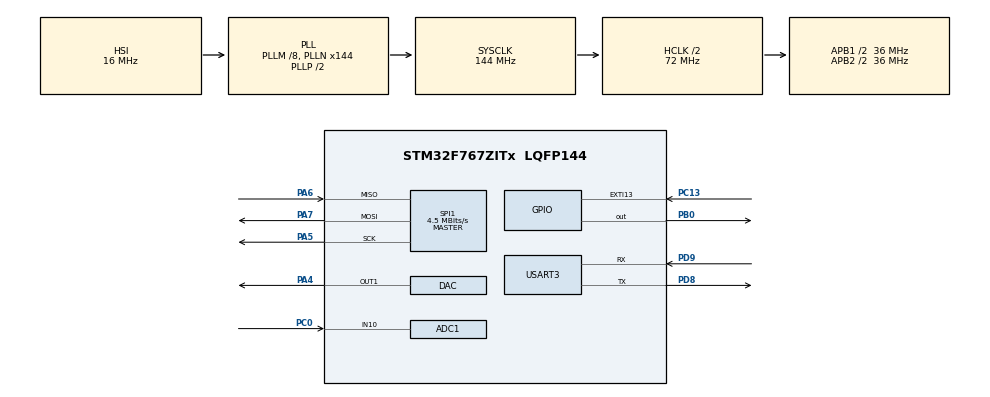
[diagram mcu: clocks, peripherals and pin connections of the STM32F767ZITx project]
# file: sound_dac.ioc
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ADC1.Channel-1\#ChannelRegularConversion=ADC_CHANNEL_10
ADC1.ContinuousConvMode=ENABLE
ADC1.NbrOfConversionFlag=1
ADC1.Rank-1\#ChannelRegularConversion=1
ADC1.SamplingTime-1\#ChannelRegularConversion=ADC_SAMPLETIME_3CYCLES
ADC1.master=1
CORTEX_M7.default_mode_Activation=1
DAC.DAC_Trigger=DAC_TRIGGER_T6_TRGO
Dma.ADC1.1.Direction=DMA_PERIPH_TO_MEMORY
Dma.ADC1.1.FIFOMode=DMA_FIFOMODE_DISABLE
Dma.ADC1.1.Instance=DMA2_Stream0
Dma.ADC1.1.MemDataAlignment=DMA_MDATAALIGN_HALFWORD
Dma.ADC1.1.MemInc=DMA_MINC_ENABLE
Dma.ADC1.1.Mode=DMA_CIRCULAR
Dma.ADC1.1.PeriphDataAlignment=DMA_PDATAALIGN_HALFWORD
Dma.ADC1.1.PeriphInc=DMA_PINC_DISABLE
Dma.ADC1.1.Priority=DMA_PRIORITY_LOW
Dma.DAC1.0.Direction=DMA_MEMORY_TO_PERIPH
Dma.DAC1.0.FIFOMode=DMA_FIFOMODE_DISABLE
Dma.DAC1.0.Instance=DMA1_Stream5
Dma.DAC1.0.MemDataAlignment=DMA_MDATAALIGN_BYTE
Dma.DAC1.0.MemInc=DMA_MINC_ENABLE
Dma.DAC1.0.Mode=DMA_CIRCULAR
Dma.DAC1.0.PeriphDataAlignment=DMA_PDATAALIGN_BYTE
Dma.DAC1.0.PeriphInc=DMA_PINC_DISABLE
Dma.DAC1.0.Priority=DMA_PRIORITY_LOW
Dma.Request0=DAC1
Dma.Request1=ADC1
FATFS._MAX_SS=4096
FATFS._USE_LFN=1
Mcu.Family=STM32F7
Mcu.Name=STM32F767ZITx
Mcu.Package=LQFP144
NVIC.DMA1_Stream5_IRQn=true\:0\:0\:false\:false\:true\:false\:true\:true
NVIC.DMA2_Stream0_IRQn=true\:0\:0\:false\:false\:true\:false\:true\:true
NVIC.EXTI15_10_IRQn=true\:0\:0\:false\:false\:true\:true\:true\:true
NVIC.PriorityGroup=NVIC_PRIORITYGROUP_4
NVIC.TIM6_DAC_IRQn=true\:0\:0\:false\:false\:true\:true\:true\:true
PA13.Mode=Serial_Wire
PA13.Signal=SYS_JTMS-SWDIO
PA14.Mode=Serial_Wire
PA14.Signal=SYS_JTCK-SWCLK
PA4.Signal=COMP_DAC1_group
PA5.Mode=Full_Duplex_Master
PA5.Signal=SPI1_SCK
PA6.Mode=Full_Duplex_Master
PA6.Signal=SPI1_MISO
PA7.Mode=Full_Duplex_Master
PA7.Signal=SPI1_MOSI
PB0.Signal=GPIO_Output
PC0.Signal=ADCx_IN10
PC13.Signal=GPXTI13
PC14/OSC32_IN.Mode=LSE-External-Oscillator
PC14/OSC32_IN.Signal=RCC_OSC32_IN
PC15/OSC32_OUT.Mode=LSE-External-Oscillator
PC15/OSC32_OUT.Signal=RCC_OSC32_OUT
PD8.Mode=Asynchronous
PD8.Signal=USART3_TX
PD9.Mode=Asynchronous
PD9.Signal=USART3_RX
PH0/OSC_IN.Mode=HSE-External-Oscillator
PH0/OSC_IN.Signal=RCC_OSC_IN
PH1/OSC_OUT.Mode=HSE-External-Oscillator
PH1/OSC_OUT.Signal=RCC_OSC_OUT
ProjectManager.HeapSize=0x200
ProjectManager.StackSize=0x400
ProjectManager.TargetToolchain=STM32CubeIDE
RCC.AHBCLKDivider=RCC_SYSCLK_DIV2
RCC.AHBFreq_Value=72000000
RCC.APB1CLKDivider=RCC_HCLK_DIV2
RCC.APB1Freq_Value=36000000
RCC.APB1TimFreq_Value=72000000
RCC.APB2CLKDivider=RCC_HCLK_DIV2
RCC.APB2Freq_Value=36000000
RCC.APB2TimFreq_Value=72000000
RCC.CortexFreq_Value=72000000
RCC.HCLKFreq_Value=72000000
RCC.HSE_VALUE=25000000
RCC.HSI_VALUE=16000000
RCC.PLLM=8
RCC.PLLN=144
RCC.SYSCLKFreq_VALUE=144000000
RCC.SYSCLKSource=RCC_SYSCLKSOURCE_PLLCLK
RCC.USBFreq_Value=144000000
RCC.VCOOutputFreq_Value=288000000
SH.ADCx_IN10.0=ADC1_IN10,IN10
SH.COMP_DAC1_group.0=DAC_OUT1,DAC_OUT1
SPI1.BaudRatePrescaler=SPI_BAUDRATEPRESCALER_8
SPI1.CalculateBaudRate=4.5 MBits/s
SPI1.DataSize=SPI_DATASIZE_8BIT
SPI1.Direction=SPI_DIRECTION_2LINES
SPI1.Mode=SPI_MODE_MASTER
SPI1.VirtualType=VM_MASTER
TIM6.Period=125-1
TIM6.Prescaler=36-1
TIM6.TIM_MasterOutputTrigger=TIM_TRGO_UPDATE
USART3.VirtualMode-Asynchronous=VM_ASYNC
VP_FATFS_VS_Generic.Mode=User_defined
VP_TIM6_VS_ClockSourceINT.Mode=Enable_Timer
board=custom

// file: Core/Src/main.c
/* USER CODE BEGIN Header */
/**
  ******************************************************************************
  * @file           : main.c
  * @brief          : Main program body
  ******************************************************************************
  * @attention
  *
  * Copyright (c) 2025 STMicroelectronics.
  * All rights reserved.
  *
  * This software is licensed under terms that can be found in the LICENSE file
  * in the root directory of this software component.
  * If no LICENSE file comes with this software, it is provided AS-IS.
  *
  ******************************************************************************
  */
/* USER CODE END Header */
#include "main.h"
#include "fatfs.h"

/* USER CODE BEGIN Includes */
//#include "audio_samples.h"
#include "wavplayer.h"
/* USER CODE END Includes */

/* USER CODE BEGIN PTD */
#define ID_STATION 	3

/* USER CODE END PTD */

ADC_HandleTypeDef hadc1;
DMA_HandleTypeDef hdma_adc1;

DAC_HandleTypeDef hdac;
DMA_HandleTypeDef hdma_dac1;

SPI_HandleTypeDef hspi1;

TIM_HandleTypeDef htim6;

UART_HandleTypeDef huart3;

/* USER CODE BEGIN PV */
char name[30] = { 0 };
uint8_t playFlag = 0;
FILELIST_FileTypeDef fileList;
WAV_InfoTypeDef currentAudio;
uint8_t readBuffer[1000] = { 0 };

/* USER CODE END PV */

void SystemClock_Config(void);
static void MPU_Config(void);
static void MX_GPIO_Init(void);
static void MX_DMA_Init(void);
static void MX_DAC_Init(void);
static void MX_ADC1_Init(void);
static void MX_SPI1_Init(void);
static void MX_TIM6_Init(void);
static void MX_USART3_UART_Init(void);

/* USER CODE BEGIN 0 */

void HAL_GPIO_EXTI_Callback(uint16_t GPIO_Pin) {
	if (GPIO_Pin == GPIO_PIN_13) {
		playFlag = 1;
//		if(playFlag == 1)
//			WAV_Pause(&currentAudio);
//		if(playFlag == 2)
//			WAV_Resume(&currentAudio);
//		if(playFlag == 3)
//			WAV_Stop(&currentAudio);
//		if(playFlag == 4)
//			playFlag = 0;
		for (int i = 0; i < 50000; i++)
			;
		while (HAL_GPIO_ReadPin(GPIOC, GPIO_PIN_13) == 0)
			;
		for (int i = 0; i < 50000; i++)
			;
		EXTI->PR = GPIO_Pin;
	}
}

/* USER CODE END 0 */

int main(void)
{

  /* MPU Configuration--------------------------------------------------------*/
  MPU_Config();

  /* MCU Configuration--------------------------------------------------------*/

  /* Reset of all peripherals, Initializes the Flash interface and the Systick. */
  HAL_Init();

  /* Configure the system clock */
  SystemClock_Config();

  /* Initialize all configured peripherals */
  MX_GPIO_Init();
  MX_DMA_Init();
  MX_DAC_Init();
  MX_ADC1_Init();
  MX_SPI1_Init();
  MX_TIM6_Init();
  MX_FATFS_Init();
  MX_USART3_UART_Init();
  /* USER CODE BEGIN 2 */
  SD_Mount("/");
  SD_GetFileSize(name);
  WAV_Init(&currentAudio);
  WAV_GetState(&currentAudio);
//  SD_ReadFile(name, readBuffer, 0, 44);
//  SD_ReadFile("A.wav", readBuffer, 0, 44);

  /* USER CODE END 2 */

  /* Infinite loop */
  while (1)
  {

    /* USER CODE BEGIN 3 */
	  if (playFlag == 1) {
		WAV_Play("A.wav", &currentAudio);
		playFlag = 0;
	}

//	  HAL_Delay(100);
  }
  /* USER CODE END 3 */
}

void SystemClock_Config(void)
{
  RCC_OscInitTypeDef RCC_OscInitStruct = {0};
  RCC_ClkInitTypeDef RCC_ClkInitStruct = {0};

  /** Configure LSE Drive Capability
  */
  HAL_PWR_EnableBkUpAccess();

  /** Configure the main internal regulator output voltage
  */
  __HAL_RCC_PWR_CLK_ENABLE();
  __HAL_PWR_VOLTAGESCALING_CONFIG(PWR_REGULATOR_VOLTAGE_SCALE3);

  /** Initializes the RCC Oscillators according to the specified parameters
  * in the RCC_OscInitTypeDef structure.
  */
  RCC_OscInitStruct.OscillatorType = RCC_OSCILLATORTYPE_HSI;
  RCC_OscInitStruct.HSIState = RCC_HSI_ON;
  RCC_OscInitStruct.HSICalibrationValue = RCC_HSICALIBRATION_DEFAULT;
  RCC_OscInitStruct.PLL.PLLState = RCC_PLL_ON;
  RCC_OscInitStruct.PLL.PLLSource = RCC_PLLSOURCE_HSI;
  RCC_OscInitStruct.PLL.PLLM = 8;
  RCC_OscInitStruct.PLL.PLLN = 144;
  RCC_OscInitStruct.PLL.PLLP = RCC_PLLP_DIV2;
  RCC_OscInitStruct.PLL.PLLQ = 2;
  RCC_OscInitStruct.PLL.PLLR = 2;
  if (HAL_RCC_OscConfig(&RCC_OscInitStruct) != HAL_OK)
  {
    Error_Handler();
  }

  /** Initializes the CPU, AHB and APB buses clocks
  */
  RCC_ClkInitStruct.ClockType = RCC_CLOCKTYPE_HCLK|RCC_CLOCKTYPE_SYSCLK
                              |RCC_CLOCKTYPE_PCLK1|RCC_CLOCKTYPE_PCLK2;
  RCC_ClkInitStruct.SYSCLKSource = RCC_SYSCLKSOURCE_PLLCLK;
  RCC_ClkInitStruct.AHBCLKDivider = RCC_SYSCLK_DIV2;
  RCC_ClkInitStruct.APB1CLKDivider = RCC_HCLK_DIV2;
  RCC_ClkInitStruct.APB2CLKDivider = RCC_HCLK_DIV2;

  if (HAL_RCC_ClockConfig(&RCC_ClkInitStruct, FLASH_LATENCY_2) != HAL_OK)
  {
    Error_Handler();
  }
}

static void MX_ADC1_Init(void)
{

  ADC_ChannelConfTypeDef sConfig = {0};

  /** Configure the global features of the ADC (Clock, Resolution, Data Alignment and number of conversion)
  */
  hadc1.Instance = ADC1;
  hadc1.Init.ClockPrescaler = ADC_CLOCK_SYNC_PCLK_DIV2;
  hadc1.Init.Resolution = ADC_RESOLUTION_12B;
  hadc1.Init.ScanConvMode = ADC_SCAN_DISABLE;
  hadc1.Init.ContinuousConvMode = ENABLE;
  hadc1.Init.DiscontinuousConvMode = DISABLE;
  hadc1.Init.ExternalTrigConvEdge = ADC_EXTERNALTRIGCONVEDGE_NONE;
  hadc1.Init.ExternalTrigConv = ADC_SOFTWARE_START;
  hadc1.Init.DataAlign = ADC_DATAALIGN_RIGHT;
  hadc1.Init.NbrOfConversion = 1;
  hadc1.Init.DMAContinuousRequests = DISABLE;
  hadc1.Init.EOCSelection = ADC_EOC_SINGLE_CONV;
  if (HAL_ADC_Init(&hadc1) != HAL_OK)
  {
    Error_Handler();
  }

  /** Configure for the selected ADC regular channel its corresponding rank in the sequencer and its sample time.
  */
  sConfig.Channel = ADC_CHANNEL_10;
  sConfig.Rank = ADC_REGULAR_RANK_1;
  sConfig.SamplingTime = ADC_SAMPLETIME_3CYCLES;
  if (HAL_ADC_ConfigChannel(&hadc1, &sConfig) != HAL_OK)
  {
    Error_Handler();
  }

}

static void MX_DAC_Init(void)
{

  /* USER CODE BEGIN DAC_Init 0 */
//	 __HAL_RCC_DAC1_CLK_ENABLE();

  /* USER CODE END DAC_Init 0 */

  DAC_ChannelConfTypeDef sConfig = {0};

  /** DAC Initialization
  */
  hdac.Instance = DAC;
  if (HAL_DAC_Init(&hdac) != HAL_OK)
  {
    Error_Handler();
  }

  /** DAC channel OUT1 config
  */
  sConfig.DAC_Trigger = DAC_TRIGGER_T6_TRGO;
  sConfig.DAC_OutputBuffer = DAC_OUTPUTBUFFER_ENABLE;
  if (HAL_DAC_ConfigChannel(&hdac, &sConfig, DAC_CHANNEL_1) != HAL_OK)
  {
    Error_Handler();
  }
  /* USER CODE BEGIN DAC_Init 2 */
//  HAL_DAC_Start(&hdac1, DAC_CHANNEL_1);

  /* USER CODE END DAC_Init 2 */

}

static void MX_SPI1_Init(void)
{

  /* SPI1 parameter configuration*/
  hspi1.Instance = SPI1;
  hspi1.Init.Mode = SPI_MODE_MASTER;
  hspi1.Init.Direction = SPI_DIRECTION_2LINES;
  hspi1.Init.DataSize = SPI_DATASIZE_8BIT;
  hspi1.Init.CLKPolarity = SPI_POLARITY_LOW;
  hspi1.Init.CLKPhase = SPI_PHASE_1EDGE;
  hspi1.Init.NSS = SPI_NSS_SOFT;
  hspi1.Init.BaudRatePrescaler = SPI_BAUDRATEPRESCALER_8;
  hspi1.Init.FirstBit = SPI_FIRSTBIT_MSB;
  hspi1.Init.TIMode = SPI_TIMODE_DISABLE;
  hspi1.Init.CRCCalculation = SPI_CRCCALCULATION_DISABLE;
  hspi1.Init.CRCPolynomial = 7;
  hspi1.Init.CRCLength = SPI_CRC_LENGTH_DATASIZE;
  hspi1.Init.NSSPMode = SPI_NSS_PULSE_ENABLE;
  if (HAL_SPI_Init(&hspi1) != HAL_OK)
  {
    Error_Handler();
  }

}

static void MX_TIM6_Init(void)
{

  TIM_MasterConfigTypeDef sMasterConfig = {0};

  htim6.Instance = TIM6;
  htim6.Init.Prescaler = 36-1;
  htim6.Init.CounterMode = TIM_COUNTERMODE_UP;
  htim6.Init.Period = 125-1;
  htim6.Init.AutoReloadPreload = TIM_AUTORELOAD_PRELOAD_DISABLE;
  if (HAL_TIM_Base_Init(&htim6) != HAL_OK)
  {
    Error_Handler();
  }
  sMasterConfig.MasterOutputTrigger = TIM_TRGO_UPDATE;
  sMasterConfig.MasterSlaveMode = TIM_MASTERSLAVEMODE_DISABLE;
  if (HAL_TIMEx_MasterConfigSynchronization(&htim6, &sMasterConfig) != HAL_OK)
  {
    Error_Handler();
  }

}

static void MX_USART3_UART_Init(void)
{

  huart3.Instance = USART3;
  huart3.Init.BaudRate = 115200;
  huart3.Init.WordLength = UART_WORDLENGTH_8B;
  huart3.Init.StopBits = UART_STOPBITS_1;
  huart3.Init.Parity = UART_PARITY_NONE;
  huart3.Init.Mode = UART_MODE_TX_RX;
  huart3.Init.HwFlowCtl = UART_HWCONTROL_NONE;
  huart3.Init.OverSampling = UART_OVERSAMPLING_16;
  huart3.Init.OneBitSampling = UART_ONE_BIT_SAMPLE_DISABLE;
  huart3.AdvancedInit.AdvFeatureInit = UART_ADVFEATURE_NO_INIT;
  if (HAL_UART_Init(&huart3) != HAL_OK)
  {
    Error_Handler();
  }

}

static void MX_DMA_Init(void)
{

  /* DMA controller clock enable */
  __HAL_RCC_DMA1_CLK_ENABLE();
  __HAL_RCC_DMA2_CLK_ENABLE();

  /* DMA interrupt init */
  /* DMA1_Stream5_IRQn interrupt configuration */
  HAL_NVIC_SetPriority(DMA1_Stream5_IRQn, 0, 0);
  HAL_NVIC_EnableIRQ(DMA1_Stream5_IRQn);
  /* DMA2_Stream0_IRQn interrupt configuration */
  HAL_NVIC_SetPriority(DMA2_Stream0_IRQn, 0, 0);
  HAL_NVIC_EnableIRQ(DMA2_Stream0_IRQn);

}

static void MX_GPIO_Init(void)
{
  GPIO_InitTypeDef GPIO_InitStruct = {0};

  /* GPIO Ports Clock Enable */
  __HAL_RCC_GPIOC_CLK_ENABLE();
  __HAL_RCC_GPIOH_CLK_ENABLE();
  __HAL_RCC_GPIOA_CLK_ENABLE();
  __HAL_RCC_GPIOB_CLK_ENABLE();
  __HAL_RCC_GPIOD_CLK_ENABLE();

  /*Configure GPIO pin Output Level */
  HAL_GPIO_WritePin(GPIOB, GPIO_PIN_0, GPIO_PIN_RESET);

  /*Configure GPIO pin : PC13 */
  GPIO_InitStruct.Pin = GPIO_PIN_13;
  GPIO_InitStruct.Mode = GPIO_MODE_IT_RISING;
  GPIO_InitStruct.Pull = GPIO_NOPULL;
  HAL_GPIO_Init(GPIOC, &GPIO_InitStruct);

  /*Configure GPIO pin : PB0 */
  GPIO_InitStruct.Pin = GPIO_PIN_0;
  GPIO_InitStruct.Mode = GPIO_MODE_OUTPUT_PP;
  GPIO_InitStruct.Pull = GPIO_NOPULL;
  GPIO_InitStruct.Speed = GPIO_SPEED_FREQ_LOW;
  HAL_GPIO_Init(GPIOB, &GPIO_InitStruct);

  /* EXTI interrupt init*/
  HAL_NVIC_SetPriority(EXTI15_10_IRQn, 0, 0);
  HAL_NVIC_EnableIRQ(EXTI15_10_IRQn);

}

 /* MPU Configuration */

void MPU_Config(void)
{
  MPU_Region_InitTypeDef MPU_InitStruct = {0};

  /* Disables the MPU */
  HAL_MPU_Disable();

  /** Initializes and configures the Region and the memory to be protected
  */
  MPU_InitStruct.Enable = MPU_REGION_ENABLE;
  MPU_InitStruct.Number = MPU_REGION_NUMBER0;
  MPU_InitStruct.BaseAddress = 0x0;
  MPU_InitStruct.Size = MPU_REGION_SIZE_4GB;
  MPU_InitStruct.SubRegionDisable = 0x87;
  MPU_InitStruct.TypeExtField = MPU_TEX_LEVEL0;
  MPU_InitStruct.AccessPermission = MPU_REGION_NO_ACCESS;
  MPU_InitStruct.DisableExec = MPU_INSTRUCTION_ACCESS_DISABLE;
  MPU_InitStruct.IsShareable = MPU_ACCESS_SHAREABLE;
  MPU_InitStruct.IsCacheable = MPU_ACCESS_NOT_CACHEABLE;
  MPU_InitStruct.IsBufferable = MPU_ACCESS_NOT_BUFFERABLE;

  HAL_MPU_ConfigRegion(&MPU_InitStruct);
  /* Enables the MPU */
  HAL_MPU_Enable(MPU_PRIVILEGED_DEFAULT);

}

void Error_Handler(void)
{
  __disable_irq();
  while (1)
  {
  }
}
